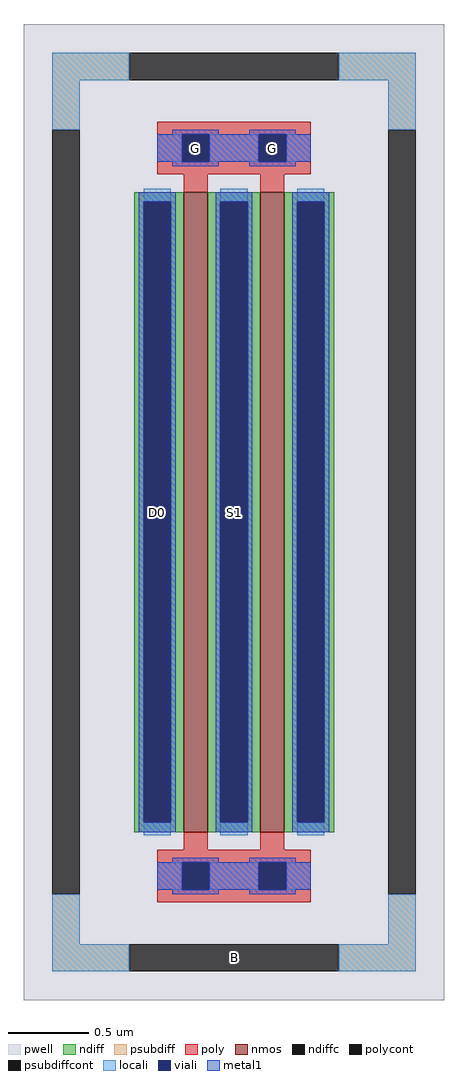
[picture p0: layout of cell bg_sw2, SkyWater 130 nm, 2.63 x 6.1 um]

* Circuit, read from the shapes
.subckt bg_sw2 B D0 G S1
XM1 S1 G D0 B sky130_fd_pr__nfet_01v8 w=4 l=0.15
XM2 n1 G S1 B sky130_fd_pr__nfet_01v8 w=4 l=0.15
.ends

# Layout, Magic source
magic
tech sky130A
magscale 1 2
<< pwell >>
rect -263 -610 263 610
<< nmos >>
rect -63 -400 -33 400
rect 33 -400 63 400
<< ndiff >>
rect -125 388 -63 400
rect -125 -388 -113 388
rect -79 -388 -63 388
rect -125 -400 -63 -388
rect -33 388 33 400
rect -33 -388 -17 388
rect 17 -388 33 388
rect -33 -400 33 -388
rect 63 388 125 400
rect 63 -388 79 388
rect 113 -388 125 388
rect 63 -400 125 -388
<< ndiffc >>
rect -113 -388 -79 388
rect -17 -388 17 388
rect 79 -388 113 388
<< psubdiff >>
rect -227 540 -131 574
rect 131 540 227 574
rect -227 478 -193 540
rect 193 478 227 540
rect -227 -540 -193 -478
rect 193 -540 227 -478
rect -227 -574 -131 -540
rect 131 -574 227 -540
<< psubdiffcont >>
rect -131 540 131 574
rect -227 -478 -193 478
rect 193 -478 227 478
rect -131 -574 131 -540
<< poly >>
rect -96 472 96 488
rect -96 438 -65 472
rect -31 438 31 472
rect 65 438 96 472
rect -96 422 96 438
rect -63 400 -33 422
rect 33 400 63 422
rect -63 -422 -33 -400
rect 33 -422 63 -400
rect -96 -438 96 -422
rect -96 -472 -65 -438
rect -31 -472 31 -438
rect 65 -472 96 -438
rect -96 -488 96 -472
<< polycont >>
rect -65 438 -31 472
rect 31 438 65 472
rect -65 -472 -31 -438
rect 31 -472 65 -438
<< locali >>
rect -227 540 -131 574
rect 131 540 227 574
rect -227 478 -193 540
rect 193 478 227 540
rect -96 438 -65 472
rect -31 438 31 472
rect 65 438 96 472
rect -113 388 -79 404
rect -113 -404 -79 -388
rect -17 388 17 404
rect -17 -404 17 -388
rect 79 388 113 404
rect 79 -404 113 -388
rect -96 -472 -65 -438
rect -31 -472 31 -438
rect 65 -472 96 -438
rect -227 -540 -193 -478
rect 193 -540 227 -478
rect -227 -574 -131 -540
rect 131 -574 227 -540
<< viali >>
rect -65 438 -31 472
rect 31 438 65 472
rect -113 -388 -79 388
rect -17 -388 17 388
rect 79 -388 113 388
rect -65 -472 -31 -438
rect 31 -472 65 -438
<< metal1 >>
rect -77 472 -19 478
rect 19 472 77 478
rect -96 438 -65 472
rect -31 438 31 472
rect 65 438 96 472
rect -77 432 -19 438
rect 19 432 77 438
rect -119 388 -73 400
rect -119 -388 -113 388
rect -79 -388 -73 388
rect -119 -400 -73 -388
rect -23 388 23 400
rect -23 -388 -17 388
rect 17 -388 23 388
rect -23 -400 23 -388
rect 73 388 119 400
rect 73 -388 79 388
rect 113 -388 119 388
rect 73 -400 119 -388
rect -77 -438 -19 -432
rect 19 -438 77 -432
rect -96 -472 -65 -438
rect -31 -472 31 -438
rect 65 -472 96 -438
rect -77 -478 -19 -472
rect 19 -478 77 -472
<< labels >>
rlabel psubdiffcont 0 -557 0 -557 0 B
port 1 nsew
rlabel ndiffc -96 0 -96 0 0 D0
port 2 nsew
rlabel polycont -48 455 -48 455 0 G
port 3 nsew
rlabel ndiffc 0 0 0 0 0 S1
port 4 nsew
rlabel polycont 48 455 48 455 0 G
port 3 nsew
<< properties >>
string FIXED_BBOX -210 -557 210 557
<< end >>
